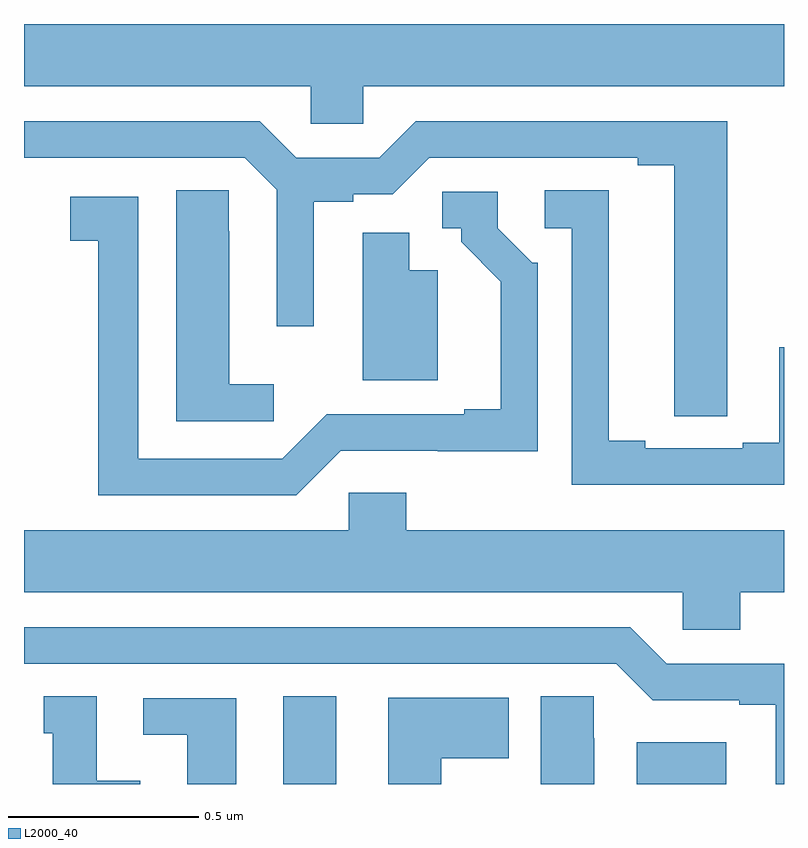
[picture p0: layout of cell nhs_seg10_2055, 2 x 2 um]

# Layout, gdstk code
import gdstk
lib = gdstk.Library(unit=1e-6, precision=1e-09)
def R(c, l, rs):  # rectangles x0, y0, x1, y1
    for r in rs: c.add(gdstk.rectangle(r[:2], r[2:], *l))
def P(c, l, *ps):  # polygons
    for p in ps: c.add(gdstk.Polygon(p, *l))
L2000_40 = (2000, 40)

nhs_seg10_2055 = lib.new_cell('nhs_seg10_2055')
R(nhs_seg10_2055, L2000_40, [(136.682,1278.5,136.822,1278.731), (137.612,1278.5,137.848,1278.61)])
P(nhs_seg10_2055, L2000_40, [(136.893,1280.336),(138,1280.336),(138,1280.5),(136,1280.5),(136,1280.336),(136.755,1280.336),(136.755,1280.238),(136.893,1280.238)],
  [(137.85,1279.576),(137.851,1279.576),(137.851,1280.244),(137.031,1280.244),(136.935,1280.148),(136.717,1280.148),(136.621,1280.244),(136,1280.244),(136,1280.148),(136.581,1280.148),(136.665,1280.064),(136.665,1279.704),(136.762,1279.704),(136.762,1280.032),(136.866,1280.032),(136.866,1280.052),(136.971,1280.052),(137.067,1280.148),(137.615,1280.148),(137.615,1280.128),(137.711,1280.128),(137.711,1279.468),(137.85,1279.468)],
  [(138,1279.649),(137.987,1279.649),(137.987,1279.398),(137.891,1279.398),(137.891,1279.383),(137.635,1279.383),(137.635,1279.403),(137.539,1279.403),(137.539,1280.063),(137.37,1280.063),(137.37,1279.962),(137.442,1279.962),(137.442,1279.287),(138,1279.287)],
  [(136.657,1279.552),(136.54,1279.552),(136.54,1279.955),(136.539,1279.955),(136.539,1280.063),(136.4,1280.063),(136.4,1279.455),(136.657,1279.455)],
  [(136.833,1279.377),(137.089,1279.377),(137.089,1279.376),(137.352,1279.376),(137.352,1279.872),(137.337,1279.872),(137.247,1279.962),(137.247,1280.058),(137.1,1280.058),(137.1,1279.962),(137.15,1279.962),(137.15,1279.927),(137.255,1279.822),(137.255,1279.486),(137.159,1279.486),(137.159,1279.473),(136.797,1279.473),(136.68,1279.356),(136.3,1279.356),(136.3,1280.046),(136.122,1280.046),(136.122,1279.93),(136.196,1279.93),(136.196,1279.26),(136.716,1279.26)],
  [(137.089,1279.852),(137.014,1279.852),(137.014,1279.951),(136.892,1279.951),(136.892,1279.562),(137.089,1279.562)],
  [(137.885,1279.004),(138,1279.004),(138,1279.168),(137.006,1279.168),(137.006,1279.266),(136.854,1279.266),(136.854,1279.168),(136,1279.168),(136,1279.004),(137.733,1279.004),(137.733,1278.906),(137.885,1278.906)],
  [(138,1278.816),(137.691,1278.816),(137.595,1278.912),(136,1278.912),(136,1278.816),(137.559,1278.816),(137.655,1278.72),(137.882,1278.72),(137.882,1278.708),(137.978,1278.708),(137.978,1278.5),(138,1278.5)],
  [(137.5,1278.62),(137.499,1278.62),(137.499,1278.731),(137.36,1278.731),(137.36,1278.5),(137.5,1278.5)],
  [(136.306,1278.508),(136.192,1278.508),(136.192,1278.731),(136.052,1278.731),(136.052,1278.633),(136.076,1278.633),(136.076,1278.5),(136.306,1278.5)],
  [(137.098,1278.568),(137.275,1278.568),(137.275,1278.727),(136.958,1278.727),(136.958,1278.5),(137.098,1278.5)],
  [(136.558,1278.726),(136.314,1278.726),(136.314,1278.63),(136.43,1278.63),(136.43,1278.5),(136.558,1278.5)])

lib.write_gds('nhs_seg10_2055.gds')
